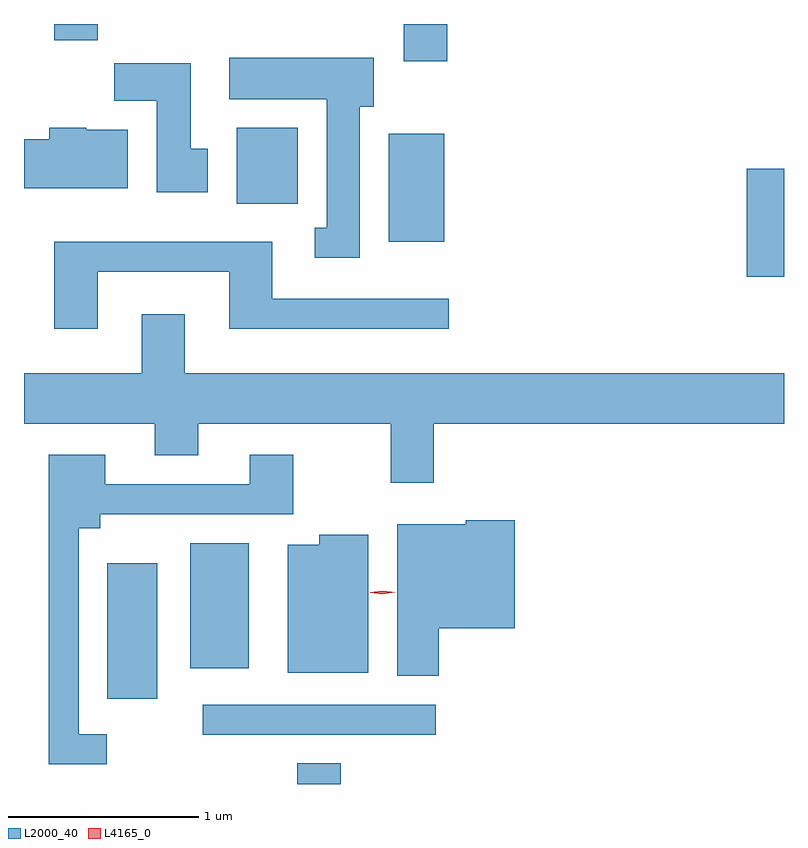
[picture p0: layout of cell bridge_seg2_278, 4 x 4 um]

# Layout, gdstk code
import gdstk
lib = gdstk.Library(unit=1e-6, precision=1e-09)
def R(c, l, rs):  # rectangles x0, y0, x1, y1
    for r in rs: c.add(gdstk.rectangle(r[:2], r[2:], *l))
def P(c, l, *ps):  # polygons
    for p in ps: c.add(gdstk.Polygon(p, *l))
L2000_40 = (2000, 40)
L4165_0 = (4165, 0)

bridge_seg2_278 = lib.new_cell('bridge_seg2_278')
R(bridge_seg2_278, L2000_40, [(599.181,1104.141,599.409,1104.249), (598.683,1104.401,599.908,1104.559), (598.181,1104.591,598.444,1105.304), (598.616,1104.751,598.924,1105.409), (601.546,1106.811,601.742,1107.379), (599.661,1106.996,599.954,1107.564), (598.861,1107.196,599.184,1107.594), (599.741,1107.946,599.969,1108.141), (597.901,1108.056,598.129,1108.141)])
P(bridge_seg2_278, L2000_40, [(599.509,1107.706),(599.584,1107.706),(599.584,1107.964),(598.821,1107.964),(598.821,1107.746),(599.336,1107.746),(599.336,1107.069),(599.273,1107.069),(599.273,1106.911),(599.509,1106.911)],
  [(598.709,1107.484),(598.619,1107.484),(598.619,1107.934),(598.216,1107.934),(598.216,1107.736),(598.441,1107.736),(598.441,1107.256),(598.709,1107.256)],
  [(598.289,1107.584),(598.07,1107.584),(598.07,1107.594),(597.876,1107.594),(597.876,1107.534),(597.742,1107.534),(597.742,1107.276),(598.289,1107.276)],
  [(598.129,1106.836),(598.821,1106.836),(598.821,1106.536),(599.978,1106.536),(599.978,1106.694),(599.049,1106.694),(599.049,1106.994),(597.901,1106.994),(597.901,1106.536),(598.129,1106.536)],
  [(599.899,1106.036),(601.742,1106.036),(601.742,1106.304),(598.589,1106.304),(598.589,1106.614),(598.361,1106.614),(598.361,1106.304),(597.742,1106.304),(597.742,1106.036),(598.431,1106.036),(598.431,1105.871),(598.659,1105.871),(598.659,1106.036),(599.671,1106.036),(599.671,1105.726),(599.899,1105.726)],
  [(598.178,1104.404),(598.029,1104.404),(598.029,1105.486),(598.144,1105.486),(598.144,1105.561),(599.159,1105.561),(599.159,1105.874),(598.931,1105.874),(598.931,1105.719),(598.169,1105.719),(598.169,1105.874),(597.871,1105.874),(597.871,1104.246),(598.178,1104.246)],
  [(599.924,1104.961),(600.324,1104.961),(600.324,1105.529),(600.066,1105.529),(600.066,1105.509),(599.706,1105.509),(599.706,1104.711),(599.924,1104.711)],
  [(599.554,1105.454),(599.296,1105.454),(599.296,1105.399),(599.131,1105.399),(599.131,1104.726),(599.554,1104.726)])
P(bridge_seg2_278, L4165_0, [(599.63,1105.139),(599.564,1105.148),(599.564,1105.149),(599.564,1105.149),(599.63,1105.159),(599.696,1105.15),(599.696,1105.15),(599.696,1105.149)])

lib.write_gds('bridge_seg2_278.gds')
